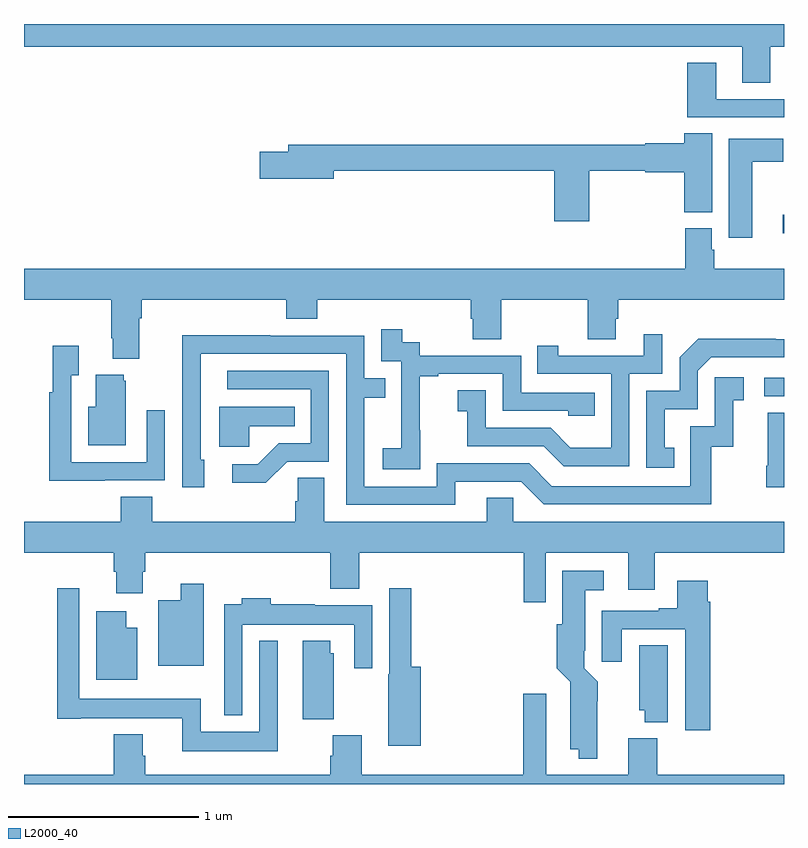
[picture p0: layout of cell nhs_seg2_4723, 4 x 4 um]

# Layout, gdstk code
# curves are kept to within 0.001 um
import gdstk
lib = gdstk.Library(unit=1e-6, precision=1e-09)
def R(c, l, rs):  # rectangles x0, y0, x1, y1
    for r in rs: c.add(gdstk.rectangle(r[:2], r[2:], *l))
def P(c, l, *ps):  # polygons
    for p in ps: c.add(gdstk.Polygon(p, *l))
L2000_40 = (2000, 40)

nhs_seg2_4723 = lib.new_cell('nhs_seg2_4723')
R(nhs_seg2_4723, L2000_40, [(372.897,601.842,373,601.938), (372.993,602.699,373,602.796)])
P(nhs_seg2_4723, L2000_40, [(372.927,603.68),(373,603.68),(373,603.8),(369,603.8),(369,603.68),(372.779,603.68),(372.779,603.49),(372.927,603.49)],
  [(373,603.405),(372.643,603.405),(372.643,603.595),(372.491,603.595),(372.491,603.309),(373,603.309)],
  [(371.975,603.028),(372.27,603.028),(372.27,603.02),(372.476,603.02),(372.476,602.809),(372.622,602.809),(372.622,603.224),(372.476,603.224),(372.476,603.172),(372.27,603.172),(372.27,603.164),(370.391,603.164),(370.391,603.128),(370.242,603.128),(370.242,602.986),(370.63,602.986),(370.63,603.028),(371.792,603.028),(371.792,602.763),(371.975,602.763)],
  [(372.832,603.074),(372.997,603.074),(372.997,603.196),(372.71,603.196),(372.71,602.676),(372.832,602.676)],
  [(369.607,602.252),(369.62,602.252),(369.62,602.348),(370.379,602.348),(370.379,602.249),(370.544,602.249),(370.544,602.348),(371.351,602.348),(371.351,602.25),(371.363,602.25),(371.363,602.14),(371.511,602.14),(371.511,602.348),(371.968,602.348),(371.968,602.14),(372.115,602.14),(372.115,602.25),(372.128,602.25),(372.128,602.348),(373,602.348),(373,602.512),(372.632,602.512),(372.632,602.613),(372.619,602.613),(372.619,602.724),(372.479,602.724),(372.479,602.512),(369,602.512),(369,602.348),(369.46,602.348),(369.46,602.146),(369.467,602.146),(369.467,602.039),(369.607,602.039)],
  [(371.085,601.663),(371.084,601.663),(371.084,601.947),(371.179,601.947),(371.179,601.959),(371.52,601.959),(371.52,601.764),(371.865,601.764),(371.865,601.737),(372.005,601.737),(372.005,601.86),(371.616,601.86),(371.616,602.055),(371.082,602.055),(371.082,602.124),(370.99,602.124),(370.99,602.194),(370.881,602.194),(370.881,602.025),(370.986,602.025),(370.986,601.796),(370.985,601.796),(370.985,601.567),(370.887,601.567),(370.887,601.457),(371.085,601.457)],
  [(372.186,601.959),(372.36,601.959),(372.36,602.167),(372.263,602.167),(372.263,602.055),(371.812,602.055),(371.812,602.107),(371.701,602.107),(371.701,601.959),(372.09,601.959),(372.09,601.57),(371.876,601.57),(371.772,601.674),(371.43,601.674),(371.43,601.873),(371.283,601.873),(371.283,601.763),(371.332,601.763),(371.332,601.578),(371.735,601.578),(371.84,601.473),(372.186,601.473)],
  [(371.269,601.392),(371.616,601.392),(371.736,601.272),(372.616,601.272),(372.616,601.575),(372.734,601.575),(372.734,601.821),(372.787,601.821),(372.787,601.942),(372.636,601.942),(372.636,601.683),(372.507,601.683),(372.507,601.368),(371.778,601.368),(371.658,601.488),(371.172,601.488),(371.172,601.365),(370.791,601.365),(370.791,601.834),(370.901,601.834),(370.901,601.935),(370.791,601.935),(370.791,602.16),(370.295,602.16),(370.295,602.162),(369.832,602.162),(369.832,601.855),(369.834,601.855),(369.834,601.362),(369.949,601.362),(369.949,601.506),(369.93,601.506),(369.931,602.064),(370.695,602.064),(370.695,601.269),(371.269,601.269)],
  [(372.422,601.569),(372.373,601.569),(372.373,601.773),(372.546,601.773),(372.546,601.974),(372.618,602.046),(373,602.046),(373,602.142),(372.956,602.142),(372.956,602.144),(372.548,602.144),(372.45,602.046),(372.45,601.869),(372.276,601.869),(372.276,601.464),(372.422,601.464)],
  [(369.425,601.398),(369.741,601.398),(369.741,601.768),(369.645,601.768),(369.645,601.494),(369.249,601.494),(369.249,601.951),(369.289,601.951),(369.289,602.107),(369.152,602.107),(369.152,601.862),(369.133,601.862),(369.133,601.397),(369.425,601.397)],
  [(370.386,601.497),(370.605,601.497),(370.605,601.974),(370.071,601.974),(370.071,601.878),(370.509,601.878),(370.509,601.593),(370.34,601.593),(370.229,601.482),(370.095,601.482),(370.095,601.385),(370.273,601.385)],
  [(369.535,601.923),(369.524,601.923),(369.524,601.954),(369.377,601.954),(369.377,601.786),(369.338,601.786),(369.338,601.583),(369.535,601.583)],
  [(370.185,601.682),(370.424,601.682),(370.424,601.786),(370.028,601.786),(370.028,601.574),(370.185,601.574)],
  [(373,601.753),(372.914,601.753),(372.914,601.474),(372.907,601.474),(372.907,601.362),(373,601.362)],
  [(371.745,601.016),(372.179,601.016),(372.179,600.822),(372.319,600.822),(372.319,601.016),(373,601.016),(373,601.18),(371.574,601.18),(371.574,601.307),(371.435,601.307),(371.435,601.18),(370.579,601.18),(370.579,601.412),(370.44,601.412),(370.44,601.289),(370.427,601.289),(370.427,601.18),(369.674,601.18),(369.674,601.313),(369.509,601.313),(369.509,601.18),(369,601.18),(369,601.016),(369.473,601.016),(369.473,600.918),(369.485,600.918),(369.485,600.804),(369.625,600.804),(369.625,600.918),(369.638,600.918),(369.638,601.016),(370.613,601.016),(370.613,600.827),(370.765,600.827),(370.765,601.016),(371.629,601.016),(371.629,600.756),(371.745,600.756)],
  [(372.018,600.236),(372.019,600.338),(371.949,600.408),(371.949,600.502),(371.953,600.502),(371.953,600.821),(372.052,600.821),(372.052,600.922),(371.834,600.922),(371.834,600.642),(371.804,600.642),(371.804,600.41),(371.876,600.338),(371.876,599.984),(371.921,599.984),(371.921,599.933),(372.018,599.933)],
  [(372.611,600.758),(372.598,600.758),(372.598,600.871),(372.437,600.871),(372.437,600.724),(372.341,600.724),(372.341,600.711),(372.041,600.711),(372.041,600.444),(372.145,600.444),(372.145,600.615),(372.479,600.615),(372.479,600.084),(372.611,600.084)],
  [(369.946,600.853),(369.824,600.853),(369.824,600.766),(369.707,600.766),(369.707,600.422),(369.946,600.422)],
  [(370.336,600.553),(370.239,600.553),(370.239,600.076),(369.93,600.076),(369.93,600.25),(369.291,600.25),(369.291,600.829),(369.175,600.829),(369.175,600.144),(369.298,600.144),(369.298,600.146),(369.833,600.146),(369.833,599.972),(370.336,599.972)],
  [(371.087,600.418),(371.039,600.418),(371.039,600.829),(370.923,600.829),(370.923,600.378),(370.916,600.378),(370.916,600.002),(371.087,600.002)],
  [(370.149,600.638),(370.737,600.638),(370.737,600.408),(370.833,600.408),(370.833,600.742),(370.529,600.742),(370.529,600.745),(370.298,600.745),(370.298,600.778),(370.145,600.778),(370.145,600.745),(370.053,600.745),(370.053,600.161),(370.149,600.161)],
  [(369.595,600.622),(369.538,600.622),(369.538,600.709),(369.38,600.709),(369.38,600.35),(369.595,600.35)],
  [(370.63,600.489),(370.612,600.489),(370.612,600.553),(370.466,600.553),(370.466,600.142),(370.63,600.142)],
  [(372.388,600.53),(372.239,600.53),(372.239,600.189),(372.266,600.189),(372.266,600.125),(372.388,600.125)],
  [(373,599.848),(372.332,599.848),(372.332,600.04),(372.179,600.04),(372.179,599.848),(371.749,599.848),(371.749,600.274),(371.627,600.274),(371.627,599.848),(370.778,599.848),(370.778,600.057),(370.625,600.057),(370.625,599.948),(370.613,599.948),(370.613,599.848),(369.638,599.848),(369.638,599.949),(369.625,599.949),(369.625,600.061),(369.473,600.061),(369.473,599.848),(369,599.848),(369,599.8),(373,599.8)])

lib.write_gds('nhs_seg2_4723.gds')
